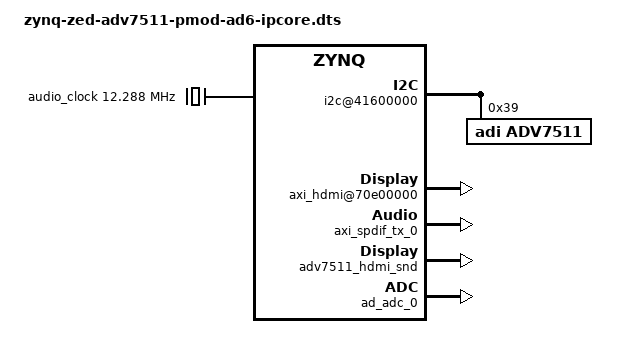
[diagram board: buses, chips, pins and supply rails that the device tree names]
/dts-v1/;

/include/ "zynq-zed.dtsi"

/ {
	fpga_axi: fpga-axi@0 {
		compatible = "simple-bus";
		#address-cells = <0x1>;
		#size-cells = <0x1>;
		ranges;

		i2c@41600000 {
			compatible = "xlnx,axi-iic-1.01.b", "xlnx,xps-iic-2.00.a";
			interrupt-parent = <&gic>;
			interrupts = <0 58 0x4>;
			reg = <0x41600000 0x10000>;

			#size-cells = <0>;
			#address-cells = <1>;

			adv7511: adv7511@39 {
				compatible = "adi,adv7511";
				reg = <0x39>;

				adi,input-style = <0x02>;
				adi,input-id = <0x01>;
				adi,input-color-depth = <0x3>;
				adi,sync-pulse = <0x03>;
				adi,bit-justification = <0x01>;
				adi,up-conversion = <0x00>;
				adi,timing-generation-sequence = <0x00>;
				adi,vsync-polarity = <0x02>;
				adi,hsync-polarity = <0x02>;
				adi,tdms-clock-inversion;
				adi,clock-delay = <0x03>;
			};
		};

		axi_vdma_0: axivdma@43000000 {
			#address-cells = <1>;
			#size-cells = <1>;
			#dma-cells = <1>;
			compatible = "xlnx,axi-vdma";
			reg = <0x43000000 0x1000>;
			xlnx,include-sg = <0x0>;
			xlnx,num-fstores = <0x3>;
			dma-channel@7e200000 {
				compatible = "xlnx,axi-vdma-mm2s-channel";
				interrupts = <0 59 0x4>;
				xlnx,datawidth = <0x40>;
				xlnx,genlock-mode = <0x0>;
				xlnx,include-dre = <0x0>;
			};
		};

		fpga_clock: fpga_clock {
			compatible = "fixed-clock";
			#clock-cells = <0>;
			clock-frequency = <200000000>;
		};

		hdmi_clock: axi-clkgen@79000000 {
			compatible = "adi,axi-clkgen-1.00.a";
			reg = <0x79000000 0x10000>;
			#clock-cells = <0>;
			clocks = <&fpga_clock>;
		};

		axi_hdmi@70e00000 {
			compatible = "adi,axi-hdmi-1.00.a";
			reg = <0x70e00000 0x10000>;
			encoder-slave = <&adv7511>;
			dmas = <&axi_vdma_0 0>;
			dma-names = "video";
			clocks = <&hdmi_clock>;
		};

		audio_clock: audio_clock {
			compatible = "fixed-clock";
			#clock-cells = <0>;
			clock-frequency = <12288000>;
		};

		axi_spdif_tx_0: axi-spdif-tx@0x75c00000 {
			compatible = "adi,axi-spdif-tx-1.00.a";
			reg = <0x75c00000 0x1000>;
			dmas = <&ps7_dma 0>;
			dma-names = "tx";
			clocks = <&fpga_clock &audio_clock>;
			clock-names = "axi", "spdif";
		};

		adv7511_hdmi_snd: adv7511_hdmi_snd {
			compatible = "adv7511-hdmi-snd";
			audio-codec = <&adv7511>;
			cpu-dai = <&axi_spdif_tx_0>;
		};
		
		axi_dma_0: axidma@40400000 {
			#address-cells = <1>;
			#size-cells = <1>;
			#dma-cells = <1>;
			compatible = "xlnx,axi-dma";
			reg = <0x40400000 0x10000>;
			dma-channel@40400000 {
				compatible = "xlnx,axi-dma-s2mm-channel";
				interrupts = <0 36 0x4>;
				xlnx,datawidth = <0x40>;
				xlnx,sg-length-width = <23>;
				xlnx,include-dre = <0x0>;
			};
		};

		ad_adc_0: AD7091R@79020000 {
			compatible = "xlnx,axi-ad-adc-1.00.a";
			reg = < 0x79020000 0x10000 >;
			dmas = <&axi_dma_0 0>;
			dma-names = "ad-adc-dma";
			adc-name-id = "ad7091r";
		};		
		
		trigger: trigger@0 {
			compatible = "iio-trigger-hrtimer";
		};
	};
};
